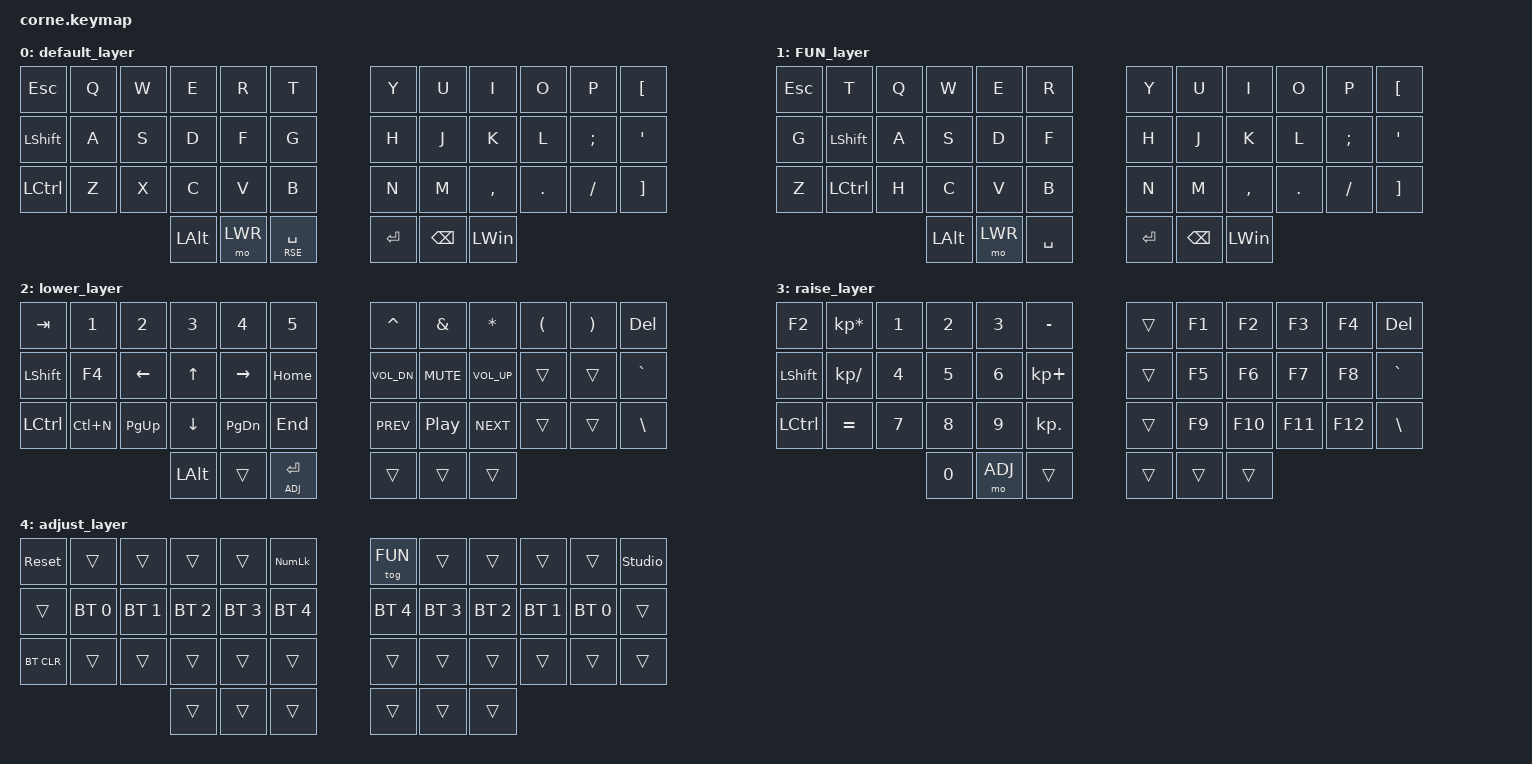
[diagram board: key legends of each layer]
 /*
 * Copyright (c) 2020 The ZMK Contributors
 *
 * SPDX-License-Identifier: MIT
 */

#include <behaviors.dtsi>
#include <dt-bindings/zmk/keys.h>
#include <dt-bindings/zmk/bt.h>
#include <dt-bindings/zmk/rgb.h>

#define DEF 0
#define FUN 1
#define LWR 2
#define RSE 3
#define ADJ 4

&lt {
    quick_tap_ms = <120>;
};

&mt {
    quick_tap_ms = <120>;
};

/ {
    conditional_layers {
        compatible = "zmk,conditional-layers";
        tri_layer {
            if-layers = <LWR RSE>;
            then-layer = <FUN>;
        };
    };
};

/ {
    combos {
        compatible = "zmk,combos";
        combo_esc {
            timeout-ms = <30>;
            key-positions = <LH1 LH0>;
            bindings = <&mo ADJ>;
        };

        combo_dash {
            timeout-ms = <20>; // Adjust if needed
            key-positions = <RM1 RM2>; // J + K
            bindings = <&kp MINUS>;
        };

        combo_question {
            timeout-ms = <20>; // Adjust if needed
            key-positions = <RM0 RM1>; // H + J
            bindings = <&kp QMARK>;
        };
    };
};

/ {
    macros {
        arrow_macro: arrow_macro {
            compatible = "zmk,behavior-macro";
            #binding-cells = <0>;
            wait-ms = <0>;
            tap-ms = <10>;  // Small delay between characters
            bindings = <&kp EQUAL &kp GT>;  // Types "=" then ">"
        };
    };
};



/ {
        keymap {
                compatible = "zmk,keymap";

                default_layer {
// .-------------------------------------------------------.       .-----------------------------------------------------------.
// |  ESC  |    Q    |    W   |   E    |    R    |    T    |       |   Y   |    U    |    I    |    O    |     P    |     [    |
// |-------+---------+--------+--------+---------+---------|       |-------+---------+---------+---------+----------+----------|
// |  SHFT |    A    |    S   |   D    |    F    |    G    |       |   H   |    J    |    K    |    L    |     ;    |     '    |
// |-------+---------+--------+--------+---------+---------|       |-------+---------+---------+---------+----------+----------|
// |  CTRL |    Z    |    X   |   C    |    V    |    B    |       |   N   |    M    |    ,    |    .    |     /    |     ]    |
// '--------------------------+--------+---------+---------+       |-------+---------+---------+-------------------------------'
//                            |  ALT   |   LWR   | RSE/SPC |       |  RET  |   BKSP  |   GUI   |
//                            '--------+---------+---------'       '-------+---------+---------'
                        bindings = <
     &kp ESC    &kp Q  &kp W    &kp E   &kp R         &kp T         &kp Y      &kp U    &kp I     &kp O   &kp P    &kp LBKT
     &kp LSHFT  &kp A  &kp S    &kp D   &kp F         &kp G         &kp H      &kp J    &kp K     &kp L   &kp SEMI &kp SQT
     &kp LCTRL  &kp Z  &kp X    &kp C   &kp V         &kp B         &kp N      &kp M    &kp COMMA &kp DOT &kp FSLH &kp RBKT
                       &kp LALT &mo LWR &lt RSE SPACE               &kp ENTER  &kp BSPC &kp LWIN
                        >;
                };
  
  
                FUN_layer {
// .-------------------------------------------------------.       .-----------------------------------------------------------.
// |  ESC  |    T    |    Q   |   W    |    E    |    R    |       |   Y   |    U    |    I    |    O    |     P    |     [    |
// |-------+---------+--------+--------+---------+---------|       |-------+---------+---------+---------+----------+----------|
// |   G   |   SHFT  |    A   |   S    |    D    |    F    |       |   H   |    J    |    K    |    L    |     ;    |     '    |
// |-------+---------+--------+--------+---------+---------|       |-------+---------+---------+---------+----------+----------|
// |   Z   |   CTRL  |    H   |   C    |    V    |    B    |       |   N   |    M    |    ,    |    .    |     /    |     ]    |
// '--------------------------+--------+---------+---------+       |-------+---------+---------+-------------------------------'
//                            |  ALT   |   LWR   |   SPC   |       |  RET  |   BKSP  |   GUI   |
//                            '--------+---------+---------'       '-------+---------+---------'
                        bindings = <
     &kp ESC  &kp T      &kp Q     &kp W    &kp E   &kp R          &kp Y      &kp U     &kp I      &kp O    &kp P     &kp LBKT
     &kp G    &kp LSHFT  &kp A     &kp S    &kp D   &kp F          &kp H      &kp J     &kp K      &kp L    &kp SEMI  &kp SQT
     &kp Z    &kp LCTRL  &kp H     &kp C    &kp V   &kp B          &kp N      &kp M     &kp COMMA  &kp DOT  &kp FSLH  &kp RBKT
                         &kp LALT  &mo LWR  &kp SPACE              &kp ENTER  &kp BSPC  &kp LWIN
                        >;
                };
  
   
  
                lower_layer {
// .----------------------------------------------------------.       .-----------------------------------------------------.
// |    TAB    |   1    |   2    |   3    |    4    |    5     |       |    ^   |    &   |    *    |    (   |    )   |  DEL  |
// |-----------+--------+--------+--------+---------+----------|       |--------+--------+---------+--------+--------+-------|
// |    SHFT   |   F4   |  LEFT  |   UP   |  RIGHT  |   HOME   |       | vol up |  mute  |  vol dn |        |        |   ~   |
// |-----------+--------+--------+--------+---------+----------|       |--------+--------+---------+--------+--------+-------|
// |    CTRL   | CTRL+N |   PU   |  DOWN  |    PD   |   END    |       |  prev  |  play  |   next  |        |        |   \   |
// '-----------------------------+--------+---------+----------+       |--------+--------+---------+-------------------------'
//                               |  ALT   |         |ADJ_ENTER |       |        |        |         |
//                               '--------+---------+----------'       '--------+--------+---------'

                        bindings = <
   &kp TAB     &kp N1    &kp N2     &kp N3    &kp N4     &kp N5          &kp CARET     &kp AMPS   &kp STAR     &kp LPAR   &kp RPAR  &kp DEL
   &kp LSHFT   &kp F4    &kp LEFT   &kp UP    &kp RIGHT  &kp HOME        &kp C_VOL_DN  &kp C_MUTE &kp C_VOL_UP &trans     &trans    &kp GRAVE
   &kp LCTRL   &kp LC(N) &kp PG_UP  &kp DOWN  &kp PG_DN  &kp END         &kp C_PREV    &kp C_PP   &kp C_NEXT   &trans     &trans    &kp BSLH
                          &kp LALT   &trans    &lt ADJ ENTER              &trans   &trans   &trans
                        >;
                };
  
  
                  raise_layer {
// .------------------------------------------------------.       .-----------------------------------------------------.
// |   F2    |    *   |    1   |    2   |    3   |    -   |       |        |   F1   |   F2   |   F3   |   F4   |   DEL  |
// |---------+--------+--------+--------+--------+--------|       |--------+--------+--------+--------+--------+--------|
// |   SHFT  |    /   |    4   |    5   |    6   |    +   |       |        |   F5   |   F6   |   F7   |   F8   |    ~   |
// |---------+--------+--------+--------+--------+--------|       |--------+--------+--------+--------+--------+--------|
// |   CTRL  |    =   |    7   |    8   |    9   |    .   |       |        |   F9   |   F10  |   F11  |   F12  |    \   |
// '---------------------------+--------+--------+--------+       |-------+---------+--------+--------------------------'
//                             |    0   |   ADJ  |        |       |        |        |        |
//                             '--------+--------+--------'       '--------+--------+--------'
                        bindings = <
   &kp F2     &kp KP_ASTERISK &kp N1 &kp N2 &kp N3 &kp MINUS           &trans &kp F1  &kp F2  &kp F3  &kp F4  &kp DEL
   &kp LSHFT  &kp KP_SLASH    &kp N4 &kp N5 &kp N6 &kp KP_PLUS         &trans &kp F5  &kp F6  &kp F7  &kp F8  &kp GRAVE
   &kp LCTRL  &kp EQUAL       &kp N7 &kp N8 &kp N9 &kp KP_DOT          &trans &kp F9  &kp F10 &kp F11 &kp F12 &kp BSLH
                              &kp N0        &mo ADJ   &trans           &trans &trans  &trans
                        >;
                };


                adjust_layer {
// .--------------------------------------------------------.       .---------------------------------------------------------.
// |  reset  |        |        |        |         |  KP_NUM |       |  FUN  |        |        |        |        | zmk-studio |
// |---------+--------+--------+--------+---------+---------|       |--------+--------+--------+--------+--------+------------|
// |         |  BT1   |  BT2   |  BT3   |  BT4    |  BT5    |       |  BT5   |  BT4   |  BT3   |  BT2   |  BT1   |            |
// |---------+--------+--------+--------+---------+---------|       |--------+--------+--------+--------+--------+------------|
// |  BTCLR  |        |        |        |         |         |       |        |        |        |        |        |            |
// '---------------------------+--------+---------+---------+       |--------+--------+--------+--------+--------+------------|
//                             |        |         |         |       |        |        |        |
//                             '--------+---------+---------'       '--------+--------+--------'

                        bindings = <
   &sys_reset  &trans        &trans        &trans        &trans          &kp KP_NUM        &tog FUN     &trans        &trans        &trans        &trans        &studio_unlock
   &trans      &bt BT_SEL 0  &bt BT_SEL 1  &bt BT_SEL 2  &bt BT_SEL 3    &bt BT_SEL 4      &bt BT_SEL 4  &bt BT_SEL 3  &bt BT_SEL 2  &bt BT_SEL 1  &bt BT_SEL 0  &trans
   &bt BT_CLR  &trans        &trans        &trans        &trans          &trans            &trans        &trans        &trans        &trans        &trans        &trans
                                           &trans        &trans          &trans            &trans        &trans        &trans
                        >;
                };
         };
};
